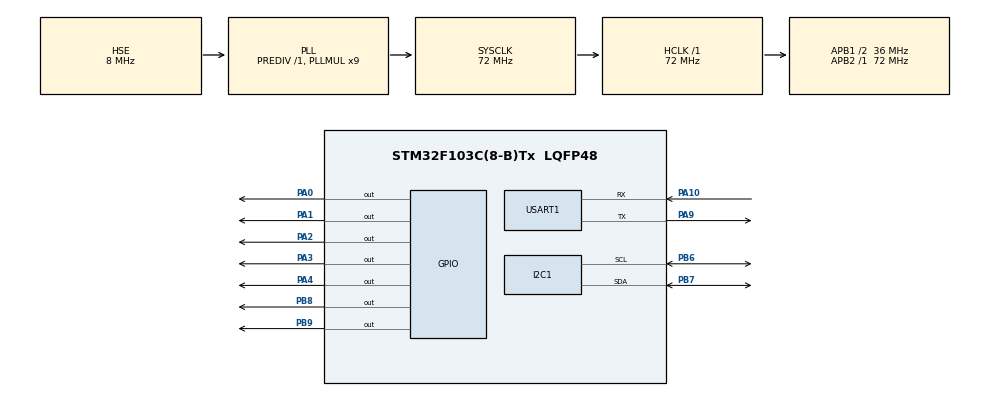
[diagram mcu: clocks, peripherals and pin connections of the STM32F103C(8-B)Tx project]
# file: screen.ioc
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Mcu.Family=STM32F1
Mcu.Name=STM32F103C(8-B)Tx
Mcu.Package=LQFP48
NVIC.PriorityGroup=NVIC_PRIORITYGROUP_4
NVIC.TIM1_UP_IRQn=true\:0\:0\:false\:false\:true\:true\:true\:true
NVIC.USART1_IRQn=true\:0\:0\:false\:false\:true\:true\:true\:true
PA0-WKUP.GPIO_Speed=GPIO_SPEED_FREQ_HIGH
PA0-WKUP.Signal=GPIO_Output
PA1.GPIO_Speed=GPIO_SPEED_FREQ_HIGH
PA1.Signal=GPIO_Output
PA10.Mode=Asynchronous
PA10.Signal=USART1_RX
PA13.Mode=Serial_Wire
PA13.Signal=SYS_JTMS-SWDIO
PA14.Mode=Serial_Wire
PA14.Signal=SYS_JTCK-SWCLK
PA2.GPIO_Speed=GPIO_SPEED_FREQ_HIGH
PA2.Signal=GPIO_Output
PA3.GPIO_Speed=GPIO_SPEED_FREQ_HIGH
PA3.Signal=GPIO_Output
PA4.GPIO_PuPd=GPIO_NOPULL
PA4.GPIO_Speed=GPIO_SPEED_FREQ_HIGH
PA4.PinState=GPIO_PIN_RESET
PA4.Signal=GPIO_Output
PA9.Mode=Asynchronous
PA9.Signal=USART1_TX
PB6.Mode=I2C
PB6.Signal=I2C1_SCL
PB7.Mode=I2C
PB7.Signal=I2C1_SDA
PB8.PinState=GPIO_PIN_RESET
PB8.Signal=GPIO_Output
PB9.Signal=GPIO_Output
PD0-OSC_IN.Mode=HSE-External-Oscillator
PD0-OSC_IN.Signal=RCC_OSC_IN
PD1-OSC_OUT.Mode=HSE-External-Oscillator
PD1-OSC_OUT.Signal=RCC_OSC_OUT
ProjectManager.HeapSize=0x200
ProjectManager.StackSize=0x400
ProjectManager.TargetToolchain=STM32CubeIDE
RCC.AHBFreq_Value=72000000
RCC.APB1CLKDivider=RCC_HCLK_DIV2
RCC.APB1Freq_Value=36000000
RCC.APB1TimFreq_Value=72000000
RCC.APB2Freq_Value=72000000
RCC.APB2TimFreq_Value=72000000
RCC.HCLKFreq_Value=72000000
RCC.PLLMUL=RCC_PLL_MUL9
RCC.PLLSourceVirtual=RCC_PLLSOURCE_HSE
RCC.SYSCLKFreq_VALUE=72000000
RCC.SYSCLKSource=RCC_SYSCLKSOURCE_PLLCLK
RCC.USBFreq_Value=72000000
TIM1.AutoReloadPreload=TIM_AUTORELOAD_PRELOAD_ENABLE
TIM1.Period=999
TIM1.Prescaler=71
USART1.VirtualMode=VM_ASYNC
VP_TIM1_VS_ClockSourceINT.Mode=Internal
board=custom

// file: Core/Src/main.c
/* USER CODE BEGIN Header */
/**
  * @author         : William's HMI Coprocessor Core (VFD Edition)
  * @brief          : VFD Display & GT9147 Touch Controller
  ******************************************************************************
  */
/* USER CODE END Header */
#include "main.h"

/* USER CODE BEGIN Includes */
#include <stdlib.h>
#include <string.h>
#include <stdio.h>
/* USER CODE END Includes */

I2C_HandleTypeDef hi2c1;

TIM_HandleTypeDef htim1;

UART_HandleTypeDef huart1;

void SystemClock_Config(void);
static void MX_GPIO_Init(void);
static void MX_USART1_UART_Init(void);
static void MX_TIM1_Init(void);
static void MX_I2C1_Init(void);

/* USER CODE BEGIN 0 */
// =========================================================
// VFD 硬件引脚映射 (增加 EN 升压使能引脚)
// =========================================================
#define VFD_PROT 		GPIOA
#define	VFD_DATA_PIN	GPIO_PIN_0
#define VFD_CLK_PIN		GPIO_PIN_1
#define VFD_CS_PIN		GPIO_PIN_2
#define VFD_RST_PIN		GPIO_PIN_3
#define VFD_EN_PIN      GPIO_PIN_4  // 💥 新增：模块上的 EN 引脚 (对应原代码的 HON)

#define SET_CS 		HAL_GPIO_WritePin(VFD_PROT, VFD_CS_PIN, GPIO_PIN_SET)
#define CLR_CS		HAL_GPIO_WritePin(VFD_PROT, VFD_CS_PIN, GPIO_PIN_RESET)
#define SET_CLK 	HAL_GPIO_WritePin(VFD_PROT, VFD_CLK_PIN, GPIO_PIN_SET)
#define CLR_CLK		HAL_GPIO_WritePin(VFD_PROT, VFD_CLK_PIN, GPIO_PIN_RESET)
#define SET_DATA 	HAL_GPIO_WritePin(VFD_PROT, VFD_DATA_PIN, GPIO_PIN_SET)
#define CLR_DATA	HAL_GPIO_WritePin(VFD_PROT, VFD_DATA_PIN, GPIO_PIN_RESET)
#define SET_RST 	HAL_GPIO_WritePin(VFD_PROT, VFD_RST_PIN, GPIO_PIN_SET)
#define CLR_RST		HAL_GPIO_WritePin(VFD_PROT, VFD_RST_PIN, GPIO_PIN_RESET)
#define SET_EN      HAL_GPIO_WritePin(VFD_PROT, VFD_EN_PIN, GPIO_PIN_SET)   // 💥 开启高压
#define CLR_EN      HAL_GPIO_WritePin(VFD_PROT, VFD_EN_PIN, GPIO_PIN_RESET) // 💥 关闭高压

// VFD 命令集
#define Write_DCRAM_CMD     0x20
#define Write_CGRAM_CMD     0x40
#define Set_Timing_CMD      0xE0
#define Set_Dimming_CMD     0xE4
#define Light_Normal_CMD    0xE8
#define Brightness          230 // 亮度 0~240

// 💥 修复1：加入 __IO (volatile) 防止被编译器过度优化吃掉延时！
void delay_us(uint32_t us) {
    __IO uint32_t delay = (SystemCoreClock / 1000000) * us / 4;
    while (delay--) { __NOP(); }
}

// =========================================================
// VFD 底层驱动
// =========================================================
void vfd_send_byte(uint8_t data) {
    for (int i = 0; i < 8; i++) {
        CLR_CLK;
        if (data & 0x01) SET_DATA; else CLR_DATA;
        data >>= 1;
        delay_us(2); // 稍微放宽一点时序，保证波形完美
        SET_CLK;
        delay_us(2);
    }
}

void vfd_display_char(uint8_t position, uint8_t data) {
    CLR_CS;
    vfd_send_byte(Write_DCRAM_CMD | position);
    vfd_send_byte(data);
    SET_CS;
}

// 💥 修复2：带空格补齐的字符串输出 (防止残留残影)
void vfd_display_string(const char* str) {
    for(int i = 0; i < 8; i++) {
        if(str[i] == '\0') {
            // 如果字符串长度不够 8 位，用空格填满剩下的屏幕！
            while(i < 8) { vfd_display_char(i, ' '); i++; }
            break;
        } else {
            vfd_display_char(i, (uint8_t)str[i]);
        }
    }
}

// =========================================================
// 自定义字模：底部绝对对齐的 k (0x01) 和 z (0x02)
// 取模规则：5列，从左到右，低位在上(Bit0=Row1)，高位在下(Bit6=Row7)
// =========================================================
const uint8_t custom_k[5] = {0x7F, 0x20, 0x10, 0x28, 0x44}; // k
const uint8_t custom_z[5] = {0x44, 0x64, 0x54, 0x4C, 0x44}; // z
const uint8_t custom_ht[5] = {0x18, 0x3C, 0x78, 0x3C, 0x18}; // heart
const uint8_t custom_dian[5] = {0x3E, 0x2A, 0x7F, 0x6A, 0x7E}; // 电
const uint8_t custom_wo[5] = {0x25, 0x7F, 0x14, 0x7E, 0x55}; // 我

void vfd_load_custom_chars(void) {
    // 注入自定义 k 到地址 0x01
    CLR_CS;
    vfd_send_byte(Write_CGRAM_CMD | 0x01);
    for(int i=0; i<5; i++) vfd_send_byte(custom_k[i]);
    SET_CS;
    delay_us(10);

    // 注入自定义 z 到地址 0x02
    CLR_CS;
    vfd_send_byte(Write_CGRAM_CMD | 0x02);
    for(int i=0; i<5; i++) vfd_send_byte(custom_z[i]);
    SET_CS;

    CLR_CS;
    vfd_send_byte(Write_CGRAM_CMD | 0x03);
    for(int i=0; i<5; i++) vfd_send_byte(custom_ht[i]);
    SET_CS;

    CLR_CS;
    vfd_send_byte(Write_CGRAM_CMD | 0x04);
    for(int i=0; i<5; i++) vfd_send_byte(custom_dian[i]);
    SET_CS;

    CLR_CS;
    vfd_send_byte(Write_CGRAM_CMD | 0x05);
    for(int i=0; i<5; i++) vfd_send_byte(custom_wo[i]);
    SET_CS;
}

void vfd_init(void) {
	SET_EN;
	HAL_Delay(50); // 给高压电容一点充电时间，让电压稳定

    SET_CS;
    HAL_Delay(100);
    CLR_RST;
    HAL_Delay(5);
    SET_RST;

    CLR_CS;
    vfd_send_byte(Set_Timing_CMD);
    HAL_Delay(1); // 严格对标原厂的毫秒级间隔
    vfd_send_byte(0x07);
    SET_CS;
    HAL_Delay(1);

    CLR_CS;
    vfd_send_byte(Set_Dimming_CMD);
    HAL_Delay(1);
    vfd_send_byte(Brightness);
    SET_CS;
    HAL_Delay(1);

    CLR_CS;
    vfd_send_byte(Light_Normal_CMD);
    SET_CS;

    HAL_Delay(1);
        // 💥 挂载自定义底齐字模
    vfd_load_custom_chars();
}

// =========================================================
// H7 交互与动画引擎
// =========================================================
uint8_t anim_mode = 0;     // 💥 修改：开机默认不进跑马灯，方便看开机画面
const char marquee_str[] = "        UNIVERSITY OF ELECTRONIC SCIENCE AND TECHNOLOGY OF CHINA (UESTC)        ";
uint16_t marquee_len = sizeof(marquee_str) - 1;

uint8_t rx_byte;
char rx_str[32];
uint8_t rx_idx = 0;
static uint8_t touch_contact_active = 0U;

static void cancel_touch_contact(void) {
    if (touch_contact_active != 2U) {
        static const uint8_t cancel_msg[] = "C:\n";
        HAL_UART_Transmit(&huart1, (uint8_t*)cancel_msg, sizeof(cancel_msg)-1U, 10);
    }
    touch_contact_active = 2U;
}

void Parse_Command(char* cmd) {
    char vfd_buf[16] = {0};

    if (cmd[0] == 'I' && cmd[1] == ':') {
        anim_mode = 1; // 触发跑马灯
    }
    else if (cmd[0] == 'F' && cmd[1] == ':') {
            anim_mode = 0;
            int val = atoi(&cmd[2]);

            if (val >= 1000) {
                int total_tenths = (val + 50) / 100;
                int k_int = total_tenths / 10;
                int k_frac = total_tenths % 10;
                // 💥 使用 \x01(k), H, \x02(z) 组合
                snprintf(vfd_buf, sizeof(vfd_buf), "%3d.%1d\x01H\x02", k_int, k_frac);
            } else {
                // 💥 使用 H, \x02(z) 组合
                snprintf(vfd_buf, sizeof(vfd_buf), "%5d H\x02 ", val);
            }

            vfd_display_string(vfd_buf);
        }
    else if (cmd[0] == 'A' && cmd[1] == ':') {
        anim_mode = 0;
        snprintf(vfd_buf, sizeof(vfd_buf), "   %.8s V", &cmd[2]);
        vfd_display_string(vfd_buf);
    }
    memset(rx_str, 0, sizeof(rx_str));
}
/* USER CODE END 0 */

int main(void)
{

  /* MCU Configuration--------------------------------------------------------*/

  /* Reset of all peripherals, Initializes the Flash interface and the Systick. */
  HAL_Init();

  /* Configure the system clock */
  SystemClock_Config();

  /* Initialize all configured peripherals */
  MX_GPIO_Init();
  MX_USART1_UART_Init();
  MX_TIM1_Init();
  MX_I2C1_Init();
  /* USER CODE BEGIN 2 */
  // 1. 初始化 VFD 屏幕
  /* USER CODE BEGIN 2 */
    // 1. 初始化 VFD 屏幕
    vfd_init();
    vfd_display_string("  \x04\x03\x05");
    HAL_Delay(1000);
    vfd_display_string("STARTING");
    HAL_Delay(500);

  // 2. 暴力唤醒 GT9147 (复用之前的逻辑)
  GPIO_InitTypeDef GPIO_InitStruct = {0};
  GPIO_InitStruct.Pin = GPIO_PIN_9;
  GPIO_InitStruct.Mode = GPIO_MODE_OUTPUT_PP;
  GPIO_InitStruct.Speed = GPIO_SPEED_FREQ_LOW;
  HAL_GPIO_Init(GPIOB, &GPIO_InitStruct);
  HAL_GPIO_WritePin(GPIOB, GPIO_PIN_8, GPIO_PIN_RESET);
  HAL_GPIO_WritePin(GPIOB, GPIO_PIN_9, GPIO_PIN_RESET);
  HAL_Delay(10);
  HAL_GPIO_WritePin(GPIOB, GPIO_PIN_8, GPIO_PIN_SET);
  HAL_Delay(10);
  GPIO_InitStruct.Mode = GPIO_MODE_INPUT;
  GPIO_InitStruct.Pull = GPIO_NOPULL;
  HAL_GPIO_Init(GPIOB, &GPIO_InitStruct);
  HAL_Delay(50);

  // 3. 开启串口接收中断
  HAL_UART_Receive_IT(&huart1, &rx_byte, 1);
  /* USER CODE END 2 */

  /* Infinite loop */
  /* USER CODE BEGIN WHILE */
  uint32_t last_marquee_tick = HAL_GetTick();
  uint16_t marquee_offset = 0;

  while (1)
  {
      // ==========================================
      // 1. 跑马灯动画驱动 (非阻塞)
      // ==========================================
      if (anim_mode == 1) {
          if (HAL_GetTick() - last_marquee_tick > 250) { // 250ms 滚一格
              last_marquee_tick = HAL_GetTick();
              char view[9] = {0};
              strncpy(view, &marquee_str[marquee_offset], 8);
              vfd_display_string(view);

              marquee_offset++;
              if (marquee_offset > marquee_len - 8) {
                  marquee_offset = 0;
              }
          }
      }

      // ==========================================
      // 2. 触摸屏 GT9147 处理逻辑 (完全保留)
      // ==========================================
      uint8_t status = 0;
      HAL_StatusTypeDef res = HAL_I2C_Mem_Read(&hi2c1, 0x28, 0x814E, I2C_MEMADD_SIZE_16BIT, &status, 1, 100);

      if (res != HAL_OK) {
          cancel_touch_contact();
          if (!anim_mode) vfd_display_string(" ERR-I2C");
      }
      else {
          if (status & 0x80) {
              uint8_t touch_count = status & 0x0F;
              if (touch_count == 1) {
                  /* T starts a contact; D updates it without retriggering
                   * buttons. After multi-touch, ignore a remaining finger
                   * until all contacts have lifted. */
                  if (touch_contact_active != 2U) {
                      uint8_t coord_buf[4] = {0};
                      if (HAL_I2C_Mem_Read(&hi2c1, 0x28, 0x8150,
                                           I2C_MEMADD_SIZE_16BIT,
                                           coord_buf, 4, 100) == HAL_OK) {
                          uint16_t touch_x = ((uint16_t)coord_buf[1] << 8) | coord_buf[0];
                          uint16_t touch_y = ((uint16_t)coord_buf[3] << 8) | coord_buf[2];
                          char t_buf[32];
                          snprintf(t_buf, sizeof(t_buf), "%c:%u,%u\n",
                                   touch_contact_active == 0U ? 'T' : 'D',
                                   (unsigned int)touch_x, (unsigned int)touch_y);
                          HAL_UART_Transmit(&huart1, (uint8_t*)t_buf, strlen(t_buf), 10);
                          touch_contact_active = 1U;
                      } else {
                          cancel_touch_contact();
                      }
                  }
              }
              else if (touch_count >= 2) {
                  /* Cancel before reading coordinates: even a failed I2C
                   * read must not let a later U commit a pending output tap. */
                  cancel_touch_contact();
                  uint8_t multi_buf[12] = {0};
                  if (HAL_I2C_Mem_Read(&hi2c1, 0x28, 0x8150,
                                       I2C_MEMADD_SIZE_16BIT,
                                       multi_buf, 12, 100) == HAL_OK) {
                      uint16_t x1 = ((uint16_t)multi_buf[1] << 8) | multi_buf[0];
                      uint16_t y1 = ((uint16_t)multi_buf[3] << 8) | multi_buf[2];
                      uint16_t x2 = ((uint16_t)multi_buf[9] << 8) | multi_buf[8];
                      uint16_t y2 = ((uint16_t)multi_buf[11] << 8) | multi_buf[10];
                      char m_buf[64];
                      snprintf(m_buf, sizeof(m_buf), "M:%u,%u,%u,%u\n",
                               (unsigned int)x1, (unsigned int)y1,
                               (unsigned int)x2, (unsigned int)y2);
                      HAL_UART_Transmit(&huart1, (uint8_t*)m_buf, strlen(m_buf), 10);
                  }
                  touch_contact_active = 2U;
              }
              else {
                  if (touch_contact_active != 0U) {
                      static const uint8_t release_msg[] = "U:\n";
                      HAL_UART_Transmit(&huart1, (uint8_t*)release_msg,
                                        sizeof(release_msg) - 1U, 10);
                  }
                  touch_contact_active = 0U;
              }
              uint8_t clear_cmd = 0x00;
              HAL_I2C_Mem_Write(&hi2c1, 0x28, 0x814E, I2C_MEMADD_SIZE_16BIT, &clear_cmd, 1, 100);
          }
      }
      HAL_Delay(10);
    /* USER CODE END WHILE */

  }
}

void SystemClock_Config(void)
{
  RCC_OscInitTypeDef RCC_OscInitStruct = {0};
  RCC_ClkInitTypeDef RCC_ClkInitStruct = {0};

  /** Initializes the RCC Oscillators according to the specified parameters
  * in the RCC_OscInitTypeDef structure.
  */
  RCC_OscInitStruct.OscillatorType = RCC_OSCILLATORTYPE_HSE;
  /* The connected 64 KiB STM32F103 target uses its on-board 8 MHz crystal. */
  RCC_OscInitStruct.HSEState = RCC_HSE_ON;
  RCC_OscInitStruct.HSEPredivValue = RCC_HSE_PREDIV_DIV1;
  RCC_OscInitStruct.HSIState = RCC_HSI_ON;
  RCC_OscInitStruct.PLL.PLLState = RCC_PLL_ON;
  RCC_OscInitStruct.PLL.PLLSource = RCC_PLLSOURCE_HSE;
  RCC_OscInitStruct.PLL.PLLMUL = RCC_PLL_MUL9;
  if (HAL_RCC_OscConfig(&RCC_OscInitStruct) != HAL_OK)
  {
    Error_Handler();
  }

  /** Initializes the CPU, AHB and APB buses clocks
  */
  RCC_ClkInitStruct.ClockType = RCC_CLOCKTYPE_HCLK|RCC_CLOCKTYPE_SYSCLK
                              |RCC_CLOCKTYPE_PCLK1|RCC_CLOCKTYPE_PCLK2;
  RCC_ClkInitStruct.SYSCLKSource = RCC_SYSCLKSOURCE_PLLCLK;
  RCC_ClkInitStruct.AHBCLKDivider = RCC_SYSCLK_DIV1;
  RCC_ClkInitStruct.APB1CLKDivider = RCC_HCLK_DIV2;
  RCC_ClkInitStruct.APB2CLKDivider = RCC_HCLK_DIV1;

  if (HAL_RCC_ClockConfig(&RCC_ClkInitStruct, FLASH_LATENCY_2) != HAL_OK)
  {
    Error_Handler();
  }
}

static void MX_I2C1_Init(void)
{

  hi2c1.Instance = I2C1;
  hi2c1.Init.ClockSpeed = 100000;
  hi2c1.Init.DutyCycle = I2C_DUTYCYCLE_2;
  hi2c1.Init.OwnAddress1 = 0;
  hi2c1.Init.AddressingMode = I2C_ADDRESSINGMODE_7BIT;
  hi2c1.Init.DualAddressMode = I2C_DUALADDRESS_DISABLE;
  hi2c1.Init.OwnAddress2 = 0;
  hi2c1.Init.GeneralCallMode = I2C_GENERALCALL_DISABLE;
  hi2c1.Init.NoStretchMode = I2C_NOSTRETCH_DISABLE;
  if (HAL_I2C_Init(&hi2c1) != HAL_OK)
  {
    Error_Handler();
  }

}

static void MX_TIM1_Init(void)
{

  TIM_ClockConfigTypeDef sClockSourceConfig = {0};
  TIM_MasterConfigTypeDef sMasterConfig = {0};

  htim1.Instance = TIM1;
  htim1.Init.Prescaler = 71;
  htim1.Init.CounterMode = TIM_COUNTERMODE_UP;
  htim1.Init.Period = 999;
  htim1.Init.ClockDivision = TIM_CLOCKDIVISION_DIV1;
  htim1.Init.RepetitionCounter = 0;
  htim1.Init.AutoReloadPreload = TIM_AUTORELOAD_PRELOAD_ENABLE;
  if (HAL_TIM_Base_Init(&htim1) != HAL_OK)
  {
    Error_Handler();
  }
  sClockSourceConfig.ClockSource = TIM_CLOCKSOURCE_INTERNAL;
  if (HAL_TIM_ConfigClockSource(&htim1, &sClockSourceConfig) != HAL_OK)
  {
    Error_Handler();
  }
  sMasterConfig.MasterOutputTrigger = TIM_TRGO_RESET;
  sMasterConfig.MasterSlaveMode = TIM_MASTERSLAVEMODE_DISABLE;
  if (HAL_TIMEx_MasterConfigSynchronization(&htim1, &sMasterConfig) != HAL_OK)
  {
    Error_Handler();
  }

}

static void MX_USART1_UART_Init(void)
{

  huart1.Instance = USART1;
  huart1.Init.BaudRate = 115200;
  huart1.Init.WordLength = UART_WORDLENGTH_8B;
  huart1.Init.StopBits = UART_STOPBITS_1;
  huart1.Init.Parity = UART_PARITY_NONE;
  huart1.Init.Mode = UART_MODE_TX_RX;
  huart1.Init.HwFlowCtl = UART_HWCONTROL_NONE;
  huart1.Init.OverSampling = UART_OVERSAMPLING_16;
  if (HAL_UART_Init(&huart1) != HAL_OK)
  {
    Error_Handler();
  }

}

static void MX_GPIO_Init(void)
{
  GPIO_InitTypeDef GPIO_InitStruct = {0};

  /* GPIO Ports Clock Enable */
  __HAL_RCC_GPIOD_CLK_ENABLE();
  __HAL_RCC_GPIOA_CLK_ENABLE();
  __HAL_RCC_GPIOB_CLK_ENABLE();

  /*Configure GPIO pin Output Level */
  HAL_GPIO_WritePin(GPIOA, GPIO_PIN_0|GPIO_PIN_1|GPIO_PIN_2|GPIO_PIN_3
                          |GPIO_PIN_4, GPIO_PIN_RESET);

  /*Configure GPIO pin Output Level */
  HAL_GPIO_WritePin(GPIOB, GPIO_PIN_8|GPIO_PIN_9, GPIO_PIN_RESET);

  /*Configure GPIO pins : PA0 PA1 PA2 PA3
                           PA4 */
  GPIO_InitStruct.Pin = GPIO_PIN_0|GPIO_PIN_1|GPIO_PIN_2|GPIO_PIN_3
                          |GPIO_PIN_4;
  GPIO_InitStruct.Mode = GPIO_MODE_OUTPUT_PP;
  GPIO_InitStruct.Pull = GPIO_NOPULL;
  GPIO_InitStruct.Speed = GPIO_SPEED_FREQ_HIGH;
  HAL_GPIO_Init(GPIOA, &GPIO_InitStruct);

  /*Configure GPIO pins : PB8 PB9 */
  GPIO_InitStruct.Pin = GPIO_PIN_8|GPIO_PIN_9;
  GPIO_InitStruct.Mode = GPIO_MODE_OUTPUT_PP;
  GPIO_InitStruct.Pull = GPIO_NOPULL;
  GPIO_InitStruct.Speed = GPIO_SPEED_FREQ_LOW;
  HAL_GPIO_Init(GPIOB, &GPIO_InitStruct);

}

/* USER CODE BEGIN 4 */
void HAL_UART_RxCpltCallback(UART_HandleTypeDef *huart) {
    if (huart->Instance == USART1) {
        if (rx_byte == '\n') {
            rx_str[rx_idx] = '\0';
            Parse_Command(rx_str);
            rx_idx = 0;
        } else {
            if (rx_idx < 30) rx_str[rx_idx++] = rx_byte;
        }
        HAL_UART_Receive_IT(&huart1, &rx_byte, 1);
    }
}
/* USER CODE END 4 */

void Error_Handler(void)
{
  __disable_irq();
  while (1)
  {
  }
}
